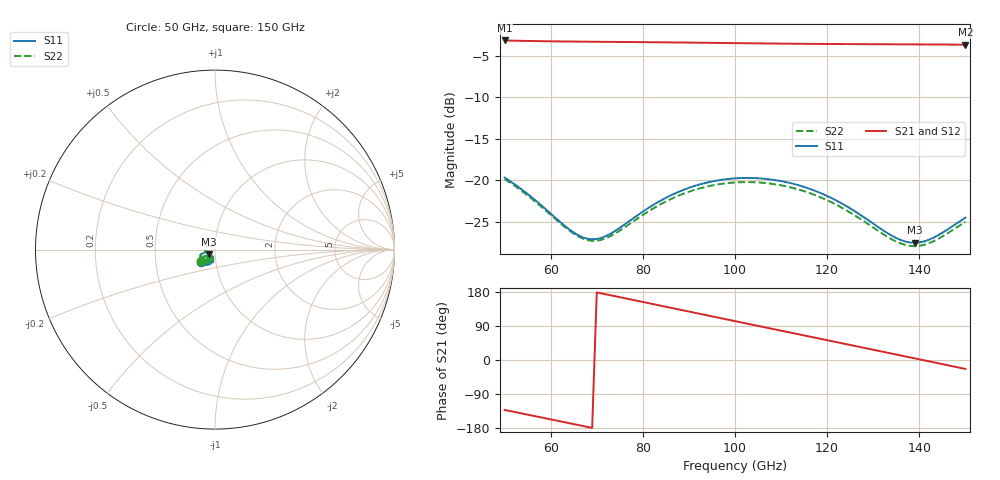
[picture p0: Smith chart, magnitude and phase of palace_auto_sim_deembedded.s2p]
! Created with skrf 1.11.0 (http://scikit-rf.org).
# GHz S DB R 50.0
!freq dBS11 angS11 dBS21 angS21 dBS12 angS12 dBS22 angS22
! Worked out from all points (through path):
!   101 points, 50 GHz to 150 GHz, reference 50 ohm
!   highest |S21| = -3.19 dB at 50 GHz (marker M1); lowest = -3.7 dB at 150 GHz (marker M2)
!   group delay of S21, straight-line fit = 7 ps
!   lowest |S11| = -27.5 dB at 139 GHz (marker M3), VSWR 1.09, Z = 46.8 - j2.48 ohm
!   |S11| at or under -10 dB: start of sweep to end of sweep
!   |S22| runs from -27.9 to -19.8 dB; largest |S21 - S12| = 7.8e-14
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50  -19.65 -138.7  -3.19 -131.8  -3.19 -131.8  -19.83 -139.9
55  -21.63 -145.1  -3.25 -144.2  -3.25 -144.2  -21.81 -146.6
59  -23.49 -146.5  -3.29 -154.1  -3.29 -154.1  -23.65 -148.4
64  -25.86 -140.5  -3.32 -166.6  -3.32 -166.6  -26.00 -143.1
67  -26.84 -131.7  -3.34 -174.1  -3.34 -174.1  -26.99 -135.0
69  -27.07 -124.5  -3.35 -179.1  -3.35 -179.1  -27.25 -128.1
72  -26.68 -114.2  -3.36 173.3  -3.36 173.3  -26.94 -118.3
78  -24.51 -104.0  -3.39 158.2  -3.39 158.2  -24.89 -108.4
84  -22.38 -105.6  -3.42 143.0  -3.42 143.0  -22.82 -110.1
92  -20.53 -115.8  -3.46 122.8  -3.46 122.8  -21.01 -120.5
96  -20.02 -122.3  -3.49 112.7  -3.49 112.7  -20.50 -127.2
100  -19.75 -129.1  -3.51 102.6  -3.51 102.6  -20.24 -134.2
104  -19.71 -136.1  -3.54 92.5  -3.54 92.5  -20.21 -141.4
108  -19.90 -142.9  -3.56 82.4  -3.56 82.4  -20.41 -148.4
112  -20.32 -149.3  -3.58 72.4  -3.58 72.4  -20.83 -155.0
117  -21.17 -156.5  -3.61 59.8  -3.61 59.8  -21.68 -162.4
126  -23.70 -163.7  -3.64 37.1  -3.64 37.1  -24.20 -170.1
134  -26.62 -156.1  -3.65 17.0  -3.65 17.0  -27.06 -163.0
137  -27.34 -147.8  -3.66 9.4  -3.66 9.4  -27.75 -155.1
139  -27.49 -141.2  -3.67 4.3  -3.67 4.3  -27.89 -148.9
143  -26.90 -129.0  -3.68 -5.8  -3.68 -5.8  -27.32 -137.3
150  -24.47 -119.3  -3.70 -23.6  -3.70 -23.6  -24.97 -128.4
